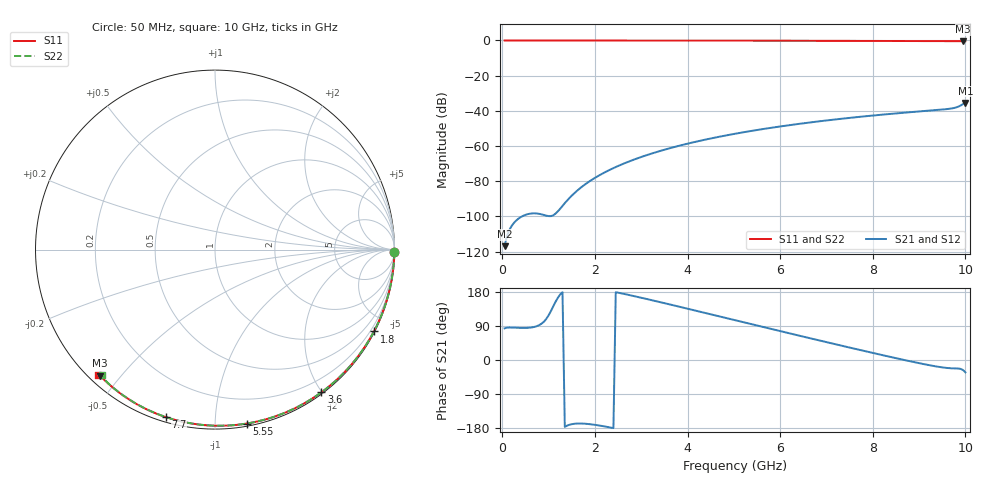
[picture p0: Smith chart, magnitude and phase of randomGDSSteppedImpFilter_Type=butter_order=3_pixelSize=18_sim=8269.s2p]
! freq	dB(S11)	phase(S11)	dB(S12)	phase(S12)
!  dB(S21)	phase(S21)	dB(S22)	phase(S22)
!S-par simulation data
#  GHz  S  DB  R 50
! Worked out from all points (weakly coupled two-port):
!   200 points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, 50 MHz to 10 GHz, reference 50 ohm
!   highest |S21| = -35.48 dB at 10 GHz (marker M1); lowest = -116.9 dB at 50 MHz (marker M2)
!   lowest |S11| = -0.4 dB at 9.95 GHz (marker M3), VSWR 40.39, Z = 1.48 - j22 ohm
!   |S11| at or under -10 dB: nowhere
!   |S22| runs from -0.5 to 0.0 dB; largest |S21 - S12| = 0
!   S11 on the Smith chart (normalised r, x): 50 MHz: open; 1.8 GHz: 0.04, -4.12; 3.6 GHz: 0.02, -1.99; 5.55 GHz: 0.02, -1.20; 7.7 GHz: 0.02, -0.75; 10 GHz: 0.03, -0.43
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0.05  -0.01 -0.8  -116.92 83.6  -116.92 83.6  -0.01 -0.8
0.9  -0.02 -13.7  -99.21 101.1  -99.21 101.1  -0.02 -13.6
1.75  -0.03 -26.5  -82.53 -167.9  -82.53 -167.9  -0.03 -26.3
1.8  -0.03 -27.3  -81.56 -168.3  -81.56 -168.3  -0.03 -27.1
1.9  -0.04 -28.7  -79.76 -169.5  -79.76 -169.5  -0.04 -28.5
2.05  -0.04 -31.0  -77.32 -172.0  -77.32 -172.0  -0.04 -30.7
2.25  -0.04 -33.9  -74.45 -176.2  -74.45 -176.2  -0.04 -33.7
2.65  -0.05 -39.7  -69.68 173.9  -69.68 173.9  -0.05 -39.5
3  -0.06 -44.8  -66.23 164.3  -66.23 164.3  -0.06 -44.5
3.4  -0.07 -50.5  -62.87 153.0  -62.87 153.0  -0.07 -50.1
3.6  -0.07 -53.3  -61.37 147.2  -61.37 147.2  -0.07 -52.9
4.3  -0.09 -63.0  -56.84 126.6  -56.84 126.6  -0.09 -62.5
5.05  -0.11 -73.0  -52.91 104.3  -52.91 104.3  -0.11 -72.5
5.55  -0.13 -79.6  -50.68 89.5  -50.68 89.5  -0.13 -79.0
6.7  -0.18 -94.1  -46.42 55.8  -46.42 55.8  -0.18 -93.5
7.7  -0.24 -106.3  -43.46 27.1  -43.46 27.1  -0.24 -105.5
8.35  -0.29 -114.0  -41.82 8.9  -41.82 8.9  -0.29 -113.2
9.65  -0.41 -129.1  -38.85 -21.5  -38.85 -21.5  -0.41 -128.2
9.8  -0.42 -130.8  -38.08 -22.3  -38.08 -22.3  -0.44 -130.1
9.85  -0.43 -131.3  -37.60 -22.5  -37.60 -22.5  -0.46 -130.7
9.95  -0.43 -132.5  -36.14 -26.6  -36.14 -26.6  -0.51 -131.7
10  -0.42 -133.1  -35.48 -32.6  -35.48 -32.6  -0.52 -132.2
